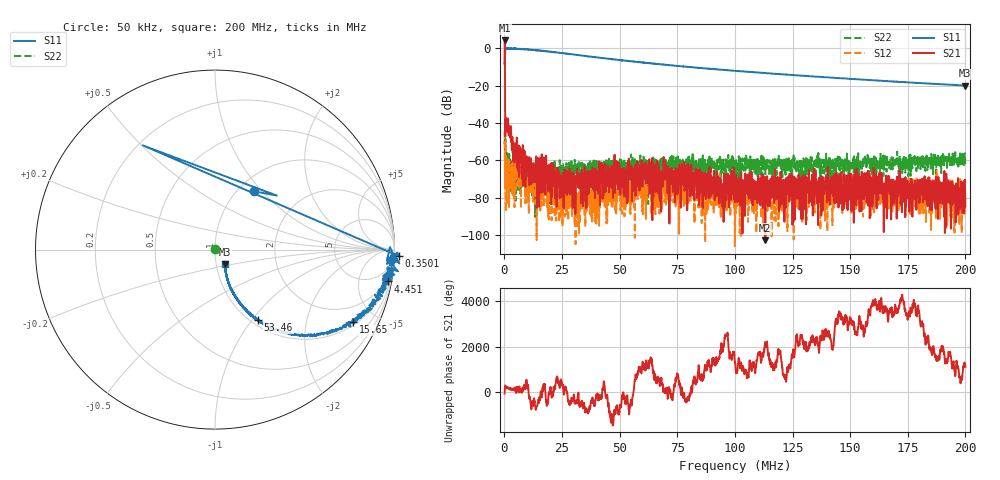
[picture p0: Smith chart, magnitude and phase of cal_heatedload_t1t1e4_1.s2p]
! 26-Feb-26 1:44:24 PM
! E:\VNA_MEASUREMENTS\CAL_S11\CAL_HEATEDLOAD_T1T1E4_1.S2P
! CHANNEL.1
! TR.MEASUREMENT
! CORRECTED.DATA
# GHZ S RI R 50.0
! FREQ.GHZ  S11RE  S11IM  S21RE  S21IM  S12RE  S12IM  S22RE  S22IM
!; PortSelection: Port_12
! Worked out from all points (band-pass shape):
!   2000 points, 50 kHz to 200 MHz, reference 50 ohm
!   highest |S21| = 4.22 dB at 150 kHz (marker M1); lowest = -103.0 dB at 113.2 MHz (marker M2)
!   |S21| within 3 dB of the highest: 126.8 kHz to 159.5 kHz (32.72 kHz wide, 22.9 % of centre)
!   lowest |S11| = -20.0 dB at 199.9 MHz (marker M3), VSWR 1.22, Z = 55.3 - j9.16 ohm
!   |S11| at or under -10 dB: 79.75396 MHz to 79.83793 MHz (83.97 kHz wide, 0.105 % of centre); 80.11867 MHz to 80.3661 MHz (247.4 kHz wide, 0.308 % of centre); 80.59 MHz to end of sweep (the widest 3 of 4)
!   |S22| runs from -90.4 to -48.6 dB; largest |S21 - S12| = 1.6
!   S11 on the Smith chart (normalised r, x): 50 kHz: 1.18, +0.90; 350.1 kHz: -26, -40; 4.451 MHz: 1, -11; 15.65 MHz: 1.12, -3.73; 53.46 MHz: 1.08, -1.07; 200 MHz: 1.11, -0.18
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5e-05  0.2172 0.3249  0.2305 -0.2864  0.00475 0.00342  0.000826 0.00254
0.000150025  0.3448 0.3009  -1.009 1.275  0.000751 0.000474  0.0019 0.00287
0.000350075  1.023 -0.0358  0.00254 -0.00349  -0.000721 8.91e-05  -0.00107 -0.00358
0.0012503  0.9621 -0.0424  -0.0101 -0.00526  0.000647 -0.000365  -0.000719 0.000443
0.0032508  0.9809 -0.122  -0.00105 0.00155  -7.88e-05 0.000102  0.000308 -0.000271
0.004451101  0.9636 -0.1771  -0.000696 0.000799  -0.00042 0.000236  0.000245 -0.000351
0.0124531  0.8353 -0.3547  -0.000299 -0.000278  -7.41e-05 -2.37e-05  0.000538 -5.9e-06
0.0156539  0.7696 -0.4047  0.00088 -3.19e-05  -2.63e-05 0.000214  0.000189 0.000151
0.02475618  0.5789 -0.4737  -1.38e-05 0.000101  3.93e-05 5.21e-05  0.000631 -9.36e-05
0.03345835  0.4363 -0.4721  -0.000154 -0.000275  -7.8e-06 0.000212  0.000492 6.18e-05
0.05346336  0.2406 -0.3911  0.000194 -0.00017  0.000243 4.42e-05  0.000249 0.000142
0.05796448  0.2081 -0.37  -0.000148 0.000497  -6.07e-05 -0.000155  0.000143 0.000437
0.06016503  0.202 -0.3625  0.000447 -0.00054  -2.42e-05 2.56e-05  0.000567 0.000267
0.06676668  0.173 -0.3388  0.000236 -0.000757  0.000194 6.65e-05  0.000491 0.000376
0.06996748  0.1605 -0.3228  0.000523 0.00024  0.000237 0.000448  0.000928 0.000424
0.09407351  0.1061 -0.2468  0.000125 1.02e-05  -6e-06 5.27e-05  0.000994 0.000662
0.100075  0.0959 -0.2313  -0.000116 -0.000155  4.3e-06 1.7e-05  0.000229 0.000591
0.1131783  0.0813 -0.2015  6.8e-06 1.9e-06  -0.000139 5.7e-06  0.000418 5.04e-05
0.1333833  0.0686 -0.1632  -2.7e-06 6.29e-05  -0.00015 5.23e-05  0.000455 0.00109
0.1666917  0.0589 -0.1171  -0.000309 0.000227  1.88e-05 -8.69e-05  0.000568 0.000557
0.1999  0.0574 -0.082  -0.000109 6.78e-05  8.19e-05 -5.27e-05  0.000861 0.000719
0.2  0.0573 -0.0825  3.96e-05 4.27e-05  8.54e-05 -2.88e-05  0.000626 0.000956
